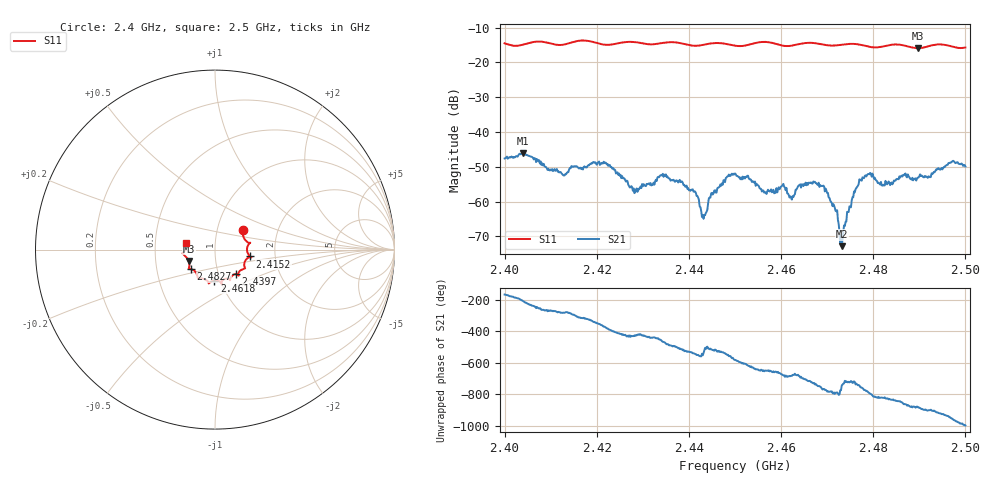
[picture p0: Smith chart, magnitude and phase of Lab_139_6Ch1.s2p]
# Hz S RI R 50
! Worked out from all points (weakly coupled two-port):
!   601 points, 2.4 GHz to 2.5 GHz, reference 50 ohm
!   highest |S21| = -45.99 dB at 2.404 GHz (marker M1); lowest = -72.8 dB at 2.4732 GHz (marker M2)
!   lowest |S11| = -15.9 dB at 2.4897 GHz (marker M3), VSWR 1.38, Z = 36.9 - j4.82 ohm
!   |S11| at or under -10 dB: start of sweep to end of sweep
!   S12 and S22 are empty: the file has one direction only
!   S11 on the Smith chart (normalised r, x): 2.4 GHz: 1.33, +0.29; 2.4152 GHz: 1.48, -0.12; 2.4397 GHz: 1.21, -0.34; 2.4618 GHz: 0.94, -0.33; 2.4827 GHz: 0.75, -0.17; 2.5 GHz: 0.72, +0.06
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2.4e9  0.1553 0.1065  -0.00406 -0.000923  0 0  0 0
2.404e9  0.1739 0.0472  -0.00441 0.0024  0 0  0 0
2.412833e9  0.1801 -0.0125  0.00049 0.00232  0 0  0 0
2.415167e9  0.1952 -0.0384  0.00152 0.00285  0 0  0 0
2.416667e9  0.2023 -0.0432  0.00208 0.00206  0 0  0 0
2.421833e9  0.1687 -0.0623  0.00354 -0.00085  0 0  0 0
2.428333e9  0.1657 -0.1048  0.000479 -0.00127  0 0  0 0
2.433333e9  0.1298 -0.1338  0.00019 -0.00226  0 0  0 0
2.439667e9  0.1171 -0.1362  -0.0015 -0.000248  0 0  0 0
2.443333e9  0.0871 -0.158  -0.000609 -0.0002  0 0  0 0
2.445167e9  0.0837 -0.1694  -0.00118 -0.00044  0 0  0 0
2.45e9  0.0651 -0.162  -0.0019 0.00169  0 0  0 0
2.461833e9  -0.00311 -0.1728  0.000916 0.000686  0 0  0 0
2.466667e9  -0.0348 -0.1882  0.00182 -0.0001  0 0  0 0
2.469667e9  -0.0451 -0.1725  0.000951 -0.0012  0 0  0 0
2.471833e9  -0.0687 -0.1615  0.000248 -0.00069  0 0  0 0
2.473167e9  -0.0824 -0.1602  0.000208 -9.49e-05  0 0  0 0
2.477333e9  -0.0974 -0.1504  0.00166 -0.00123  0 0  0 0
2.482667e9  -0.1348 -0.1085  -0.000534 -0.00191  0 0  0 0
2.483333e9  -0.14 -0.1083  -0.000729 -0.0018  0 0  0 0
2.489667e9  -0.1469 -0.0635  -0.0021 -0.000676  0 0  0 0
2.5e9  -0.1593 0.0386  0.000415 0.00317  0 0  0 0
